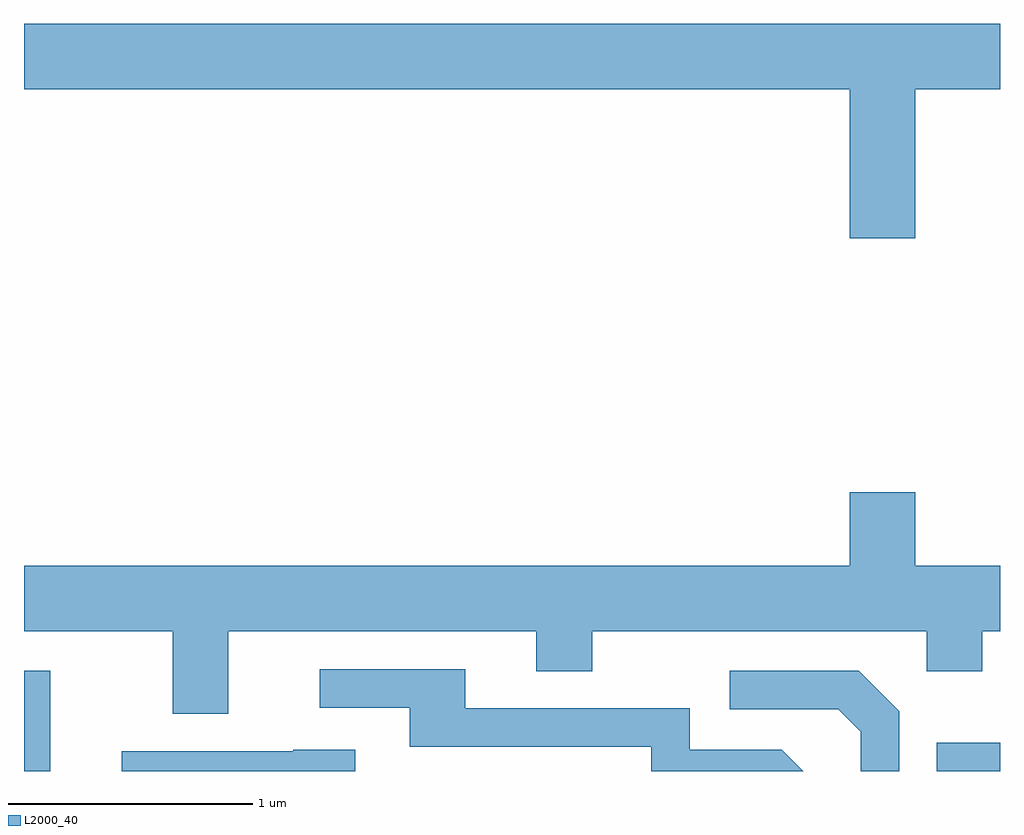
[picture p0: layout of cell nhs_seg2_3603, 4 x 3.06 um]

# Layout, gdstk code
import gdstk
lib = gdstk.Library(unit=1e-6, precision=1e-09)
def R(c, l, rs):  # rectangles x0, y0, x1, y1
    for r in rs: c.add(gdstk.rectangle(r[:2], r[2:], *l))
def P(c, l, *ps):  # polygons
    for p in ps: c.add(gdstk.Polygon(p, *l))
L2000_40 = (2000, 40)

nhs_seg2_3603 = lib.new_cell('nhs_seg2_3603')
R(nhs_seg2_3603, L2000_40, [(291.611,987.802,291.719,988.214), (295.351,987.802,295.611,987.919)])
P(nhs_seg2_3603, L2000_40, [(295.264,990.596),(295.611,990.596),(295.611,990.864),(291.611,990.864),(291.611,990.596),(294.996,990.596),(294.996,989.986),(295.264,989.986)],
  [(292.449,988.376),(293.711,988.376),(293.711,988.211),(293.939,988.211),(293.939,988.376),(295.311,988.376),(295.311,988.211),(295.539,988.211),(295.539,988.376),(295.611,988.376),(295.611,988.644),(295.264,988.644),(295.264,988.944),(294.996,988.944),(294.996,988.644),(291.611,988.644),(291.611,988.376),(292.221,988.376),(292.221,988.036),(292.449,988.036)],
  [(294.717,987.889),(294.339,987.889),(294.339,988.059),(293.419,988.059),(293.419,988.219),(292.823,988.219),(292.823,988.061),(293.191,988.061),(293.191,987.901),(294.181,987.901),(294.181,987.802),(294.804,987.802)],
  [(295.199,988.047),(295.032,988.214),(294.503,988.214),(294.503,988.056),(294.949,988.056),(295.041,987.964),(295.041,987.802),(295.199,987.802)],
  [(292.969,987.889),(292.715,987.889),(292.715,987.884),(292.011,987.884),(292.011,987.802),(292.969,987.802)])

lib.write_gds('nhs_seg2_3603.gds')
